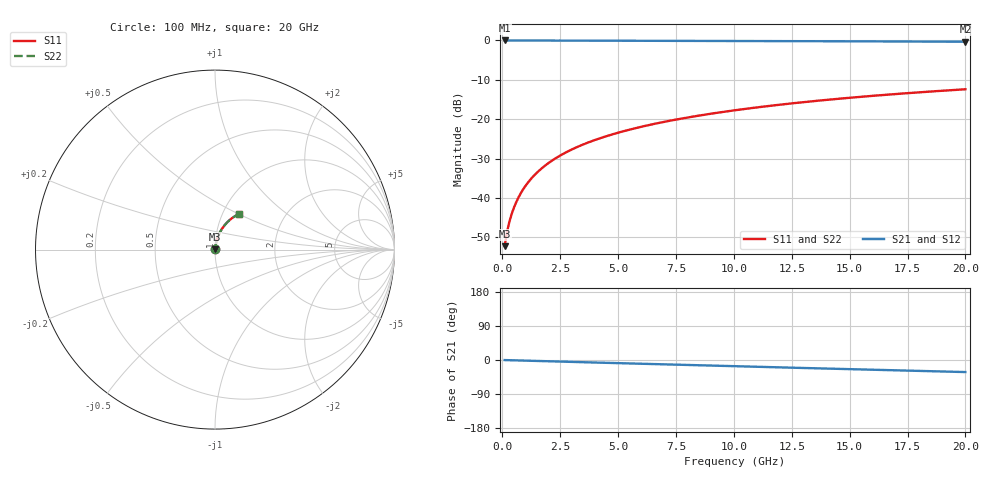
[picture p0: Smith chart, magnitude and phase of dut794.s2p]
! Touchstone file exported from HFSS 2026.1.0
!  File:  C:/ffzhzh/LocalFiles/Ansys_Project_Files/temp_train_TMRDL_794_1783156000_55132.aedt
!  Generated:  05:07:55 PM Jul  4, 2026
!  Design:  TMRDL
!  Project:  temp_train_TMRDL_794_1783156000_55132
! Variables:
!  h_bsmrdl = 2um
!  h_ox = 20um
!  h_rdl = 5um
!  h_sub = 80um
!  h_tmrdl = 4.77um
!  h_tsv = 80um
!  h_via = 3um
!  l_bsmrdl = 300um
!  l_sub = 893.55um
!  l_tmrdl = 493.55um
!  m_sub = 200um
!  pitch = 39.55um
!  r_tsv = 6um
!  s_tmrdl = 10um
!  w_bsmrdl = 18um
!  w_sub = 500um
!  w_tmrdl = 21.63um
!  x_tsv_center1 = 504.365um
!  x_tsv_center2 = 822.365um
!  x_tsv_center3 = 1337.545um
!  x_tsv_center4 = 1655.545um
!  x_tsv_center5 = 2170.725um
!  x_tsv_center6 = 2488.725um
# GHz S MA R 50.000000
! Terminal data exported
! Port[1] = TM_RDL1_1_T1
! Port[2] = TM_RDL1_1_T2
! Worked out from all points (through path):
!   200 points, 100 MHz to 20 GHz, reference 50 ohm
!   highest |S21| = -0.02 dB at 100 MHz (marker M1); lowest = -0.3 dB at 20 GHz (marker M2)
!   group delay of S21, straight-line fit = 4.42 ps
!   lowest |S11| = -52.2 dB at 100 MHz (marker M3), VSWR 1.00, Z = 50.2 + j0.158 ohm
!   |S11| at or under -10 dB: start of sweep to end of sweep
!   |S22| runs from -52.2 to -12.4 dB; largest |S21 - S12| = 2.1e-15
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0.1  0.00245 39.9  0.9981 -0.2  0.9981 -0.2  0.00245 39.9
! Gamma 0 0 0 0
! Port Impedance 50 0 50 0
0.2  0.003651 56.2  0.998 -0.4  0.998 -0.4  0.003651 56.2
0.3  0.004921 63.9  0.9979 -0.5  0.9979 -0.5  0.004921 63.9
0.4  0.00621 68.5  0.9978 -0.7  0.9978 -0.7  0.00621 68.5
0.5  0.007518 71.6  0.9977 -0.9  0.9977 -0.9  0.007518 71.6
0.6  0.008843 73.9  0.9977 -1.0  0.9977 -1.0  0.008843 73.9
0.8  0.01153 76.7  0.9976 -1.4  0.9976 -1.4  0.01153 76.7
1.1  0.0156 79.0  0.9974 -1.9  0.9974 -1.9  0.0156 79.0
1.3  0.01832 79.7  0.9973 -2.2  0.9973 -2.2  0.01832 79.7
1.6  0.02241 80.4  0.997 -2.7  0.997 -2.7  0.02241 80.4
2.1  0.0292 80.7  0.9966 -3.5  0.9966 -3.5  0.0292 80.7
2.7  0.03728 80.4  0.996 -4.5  0.996 -4.5  0.03728 80.4
3.5  0.0479 79.6  0.995 -5.8  0.995 -5.8  0.0479 79.6
4.2  0.05707 78.7  0.9941 -7.0  0.9941 -7.0  0.05707 78.7
5  0.06741 77.7  0.993 -8.3  0.993 -8.3  0.06741 77.7
5.9  0.07888 76.4  0.9916 -9.7  0.9916 -9.7  0.07888 76.4
6.8  0.09019 75.2  0.9902 -11.2  0.9902 -11.2  0.09019 75.2
8.3  0.1088 73.0  0.9877 -13.6  0.9877 -13.6  0.1088 73.0
10.1  0.1305 70.4  0.9843 -16.5  0.9843 -16.5  0.1305 70.4
13.4  0.1691 65.6  0.9775 -21.7  0.9775 -21.7  0.1691 65.6
16.7  0.2056 60.7  0.9697 -26.8  0.9697 -26.8  0.2056 60.7
20  0.2398 55.9  0.9613 -31.8  0.9613 -31.8  0.2398 55.9
